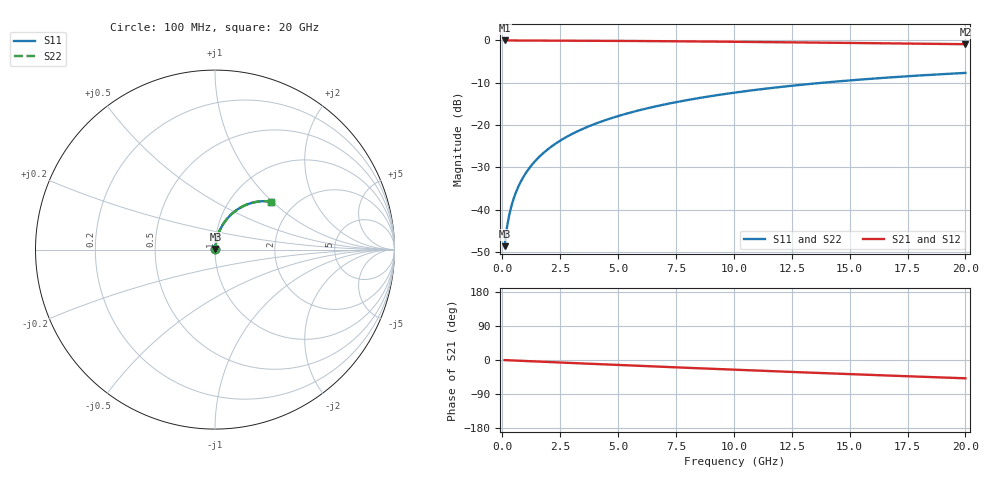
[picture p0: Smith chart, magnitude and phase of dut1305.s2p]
! Touchstone file exported from HFSS 2026.1.0
!  File:  C:/ffzhzh/LocalFiles/Ansys_Project_Files/temp_train_TMRDL_1305_1783164760_55132.aedt
!  Generated:  07:34:07 PM Jul  4, 2026
!  Design:  TMRDL
!  Project:  temp_train_TMRDL_1305_1783164760_55132
! Variables:
!  h_bsmrdl = 2um
!  h_ox = 20um
!  h_rdl = 5um
!  h_sub = 80um
!  h_tmrdl = 4.33um
!  h_tsv = 80um
!  h_via = 3um
!  l_bsmrdl = 300um
!  l_sub = 1121.8um
!  l_tmrdl = 721.8um
!  m_sub = 200um
!  pitch = 59.94um
!  r_tsv = 6um
!  s_tmrdl = 10um
!  w_bsmrdl = 18um
!  w_sub = 500um
!  w_tmrdl = 28.54um
!  x_tsv_center1 = 736.07um
!  x_tsv_center2 = 1054.07um
!  x_tsv_center3 = 1804.41um
!  x_tsv_center4 = 2122.41um
!  x_tsv_center5 = 2872.75um
!  x_tsv_center6 = 3190.75um
# GHz S MA R 50.000000
! Terminal data exported
! Port[1] = TM_RDL1_1_T1
! Port[2] = TM_RDL1_1_T2
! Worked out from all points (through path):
!   200 points, 100 MHz to 20 GHz, reference 50 ohm
!   highest |S21| = -0.02 dB at 100 MHz (marker M1); lowest = -0.9 dB at 20 GHz (marker M2)
!   group delay of S21, straight-line fit = 6.71 ps
!   lowest |S11| = -48.7 dB at 100 MHz (marker M3), VSWR 1.01, Z = 50.2 + j0.288 ohm
!   |S11| at or under -10 dB: start of sweep to 13.88 GHz
!   |S22| runs from -48.7 to -7.7 dB; largest |S21 - S12| = 4.6e-15
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0.1  0.003686 51.1  0.9977 -0.3  0.9977 -0.3  0.003686 51.1
! Gamma 0 0 0 0
! Port Impedance 50 0 50 0
0.2  0.006132 65.5  0.9975 -0.6  0.9975 -0.6  0.006132 65.5
0.3  0.008641 71.4  0.9973 -0.8  0.9973 -0.8  0.008641 71.4
0.4  0.01116 74.7  0.9972 -1.1  0.9972 -1.1  0.01116 74.7
0.5  0.0137 76.8  0.9971 -1.3  0.9971 -1.3  0.0137 76.8
0.7  0.01882 79.2  0.9969 -1.9  0.9969 -1.9  0.01882 79.2
0.8  0.02139 79.9  0.9968 -2.1  0.9968 -2.1  0.02139 79.9
1  0.02656 80.8  0.9966 -2.7  0.9966 -2.7  0.02656 80.8
1.2  0.03173 81.2  0.9964 -3.2  0.9964 -3.2  0.03173 81.2
1.4  0.03691 81.3  0.9961 -3.7  0.9961 -3.7  0.03691 81.3
1.7  0.04466 81.2  0.9957 -4.5  0.9957 -4.5  0.04467 81.2
2  0.05239 80.9  0.9951 -5.3  0.9951 -5.3  0.0524 80.9
2.7  0.0703 79.7  0.9936 -7.1  0.9936 -7.1  0.0703 79.7
3.5  0.09047 77.9  0.9914 -9.2  0.9914 -9.2  0.09047 77.9
4.2  0.1078 76.3  0.9892 -11.0  0.9892 -11.0  0.1078 76.3
5  0.1273 74.4  0.9863 -13.1  0.9863 -13.1  0.1273 74.4
6.8  0.1698 70.1  0.9789 -17.6  0.9789 -17.6  0.1698 70.1
8.3  0.2037 66.6  0.9717 -21.4  0.9717 -21.4  0.2037 66.6
10.1  0.2425 62.3  0.9621 -25.8  0.9621 -25.8  0.2425 62.3
13.4  0.3075 54.8  0.9426 -33.6  0.9426 -33.6  0.3075 54.7
16.7  0.3641 47.5  0.9219 -41.1  0.9219 -41.1  0.3642 47.4
20  0.4122 40.4  0.9013 -48.3  0.9013 -48.3  0.4122 40.4
